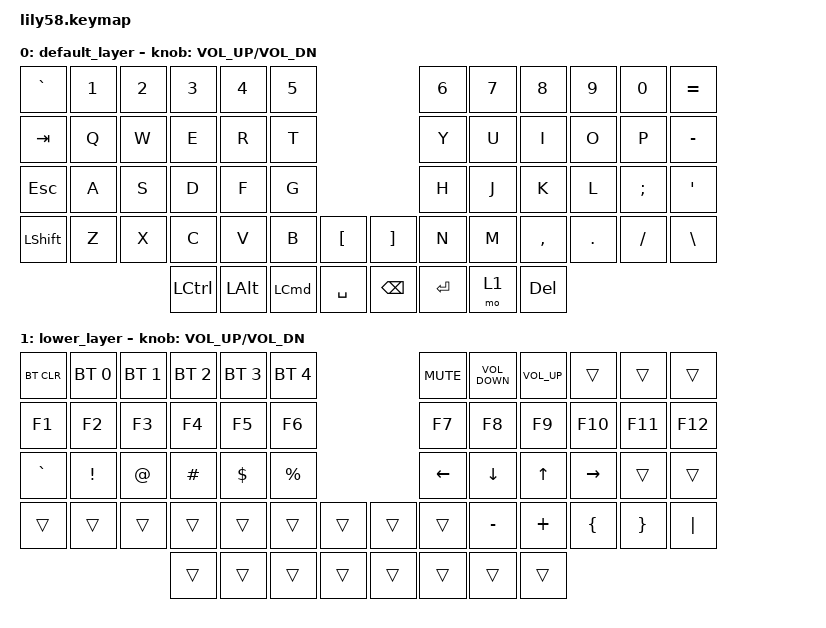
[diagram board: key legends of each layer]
/*
 * Copyright (c) 2020 The ZMK Contributors
 *
 * SPDX-License-Identifier: MIT
 */

#include <behaviors.dtsi>
#include <dt-bindings/zmk/bt.h>
#include <dt-bindings/zmk/keys.h>

/ {
    macros {
        emoji_key: emoji_key {
            compatible = "zmk,behavior-macro";
            #binding-cells = <0>;
            bindings = <&kp LEFT_COMMAND &kp LEFT_ALT &kp SPACE>;
            label = "EMOJI_KEY";
        };
    };

    keymap {
        compatible = "zmk,keymap";

        default_layer {
            // ------------------------------------------------------------------------------------------------------------
            // |  ESC  |  1  |  2  |  3   |  4   |  5   |                   |  6   |  7    |  8    |  9   |   0   |   `   |
            // |  TAB  |  Q  |  W  |  E   |  R   |  T   |                   |  Y   |  U    |  I    |  O   |   P   |   -   |
            // |  CTRL |  A  |  S  |  D   |  F   |  G   |                   |  H   |  J    |  K    |  L   |   ;   |   '   |
            // | SHIFT |  Z  |  X  |  C   |  V   |  B   |   "["  |  |  "]"  |  N   |  M    |  ,    |  .   |   /   | SHIFT |
            //                     | ALT  | GUI  | LOWER|  SPACE |  | ENTER | RAISE| BSPC  | GUI   |

            bindings = <
&kp GRAVE  &kp N1  &kp N2  &kp N3            &kp N4        &kp N5                                        &kp N6   &kp N7  &kp N8      &kp N9   &kp N0    &kp EQUAL
&kp TAB    &kp Q   &kp W   &kp E             &kp R         &kp T                                         &kp Y    &kp U   &kp I       &kp O    &kp P     &kp MINUS
&kp ESC    &kp A   &kp S   &kp D             &kp F         &kp G                                         &kp H    &kp J   &kp K       &kp L    &kp SEMI  &kp SQT
&kp LSHFT  &kp Z   &kp X   &kp C             &kp V         &kp B             &kp LBKT     &kp RBKT       &kp N    &kp M   &kp COMMA   &kp DOT  &kp FSLH  &kp BACKSLASH
                           &kp LEFT_CONTROL  &kp LEFT_ALT  &kp LEFT_COMMAND  &kp SPACE    &kp BACKSPACE  &kp RET  &mo 1   &kp DELETE
            >;

            sensor-bindings = <&inc_dec_kp C_VOL_UP C_VOL_DN>;
        };

        lower_layer {
            // ------------------------------------------------------------------------------------------------------------
            // | BTCLR | BT1 | BT2 |  BT3 |  BT4 |  BT5 |                   |      |       |       |      |       |       |
            // |  F1   |  F2 |  F3 |  F4  |  F5  |  F6  |                   |  F7  |  F8   |  F9   |  F10 |  F11  |  F12  |
            // |   `   |  !  |  @  |  #   |  $   |  %   |                   |  ^   |  &    |  *    |  (   |   )   |   ~   |
            // |       |     |     |      |      |      |        |  |       |      |  _    |  +    |  {   |   }   |  "|"  |
            //                     |      |      |      |        |  |       |      |       |       |

            bindings = <
&bt BT_CLR  &bt BT_SEL 0  &bt BT_SEL 1  &bt BT_SEL 2  &bt BT_SEL 3  &bt BT_SEL 4                    &kp C_MUTE  &kp C_VOLUME_DOWN  &kp C_VOLUME_UP  &trans     &trans    &trans
&kp F1      &kp F2        &kp F3        &kp F4        &kp F5        &kp F6                          &kp F7      &kp F8             &kp F9           &kp F10    &kp F11   &kp F12
&kp GRAVE   &kp EXCL      &kp AT        &kp HASH      &kp DOLLAR    &kp PRCNT                       &kp LEFT    &kp DOWN           &kp UP_ARROW     &kp RIGHT  &trans    &trans
&trans      &trans        &trans        &trans        &trans        &trans        &trans    &trans  &trans      &kp MINUS          &kp PLUS         &kp LBRC   &kp RBRC  &kp PIPE
                                        &trans        &trans        &trans        &trans    &trans  &trans      &trans             &trans
            >;

            sensor-bindings = <&inc_dec_kp C_VOL_UP C_VOL_DN>;
        };
    };
};
